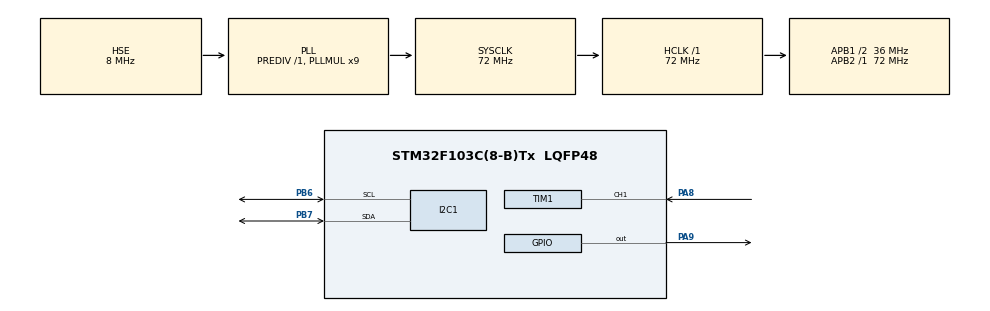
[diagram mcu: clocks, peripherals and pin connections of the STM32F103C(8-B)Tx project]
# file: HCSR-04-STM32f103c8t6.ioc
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Mcu.Family=STM32F1
Mcu.Name=STM32F103C(8-B)Tx
Mcu.Package=LQFP48
NVIC.PriorityGroup=NVIC_PRIORITYGROUP_4
NVIC.TIM1_CC_IRQn=true\:0\:0\:false\:false\:true\:true\:true
PA13.Mode=Serial_Wire
PA13.Signal=SYS_JTMS-SWDIO
PA14.Mode=Serial_Wire
PA14.Signal=SYS_JTCK-SWCLK
PA8.Signal=S_TIM1_CH1
PA9.Signal=GPIO_Output
PB6.Mode=I2C
PB6.Signal=I2C1_SCL
PB7.Mode=I2C
PB7.Signal=I2C1_SDA
PD0-OSC_IN.Mode=HSE-External-Oscillator
PD0-OSC_IN.Signal=RCC_OSC_IN
PD1-OSC_OUT.Mode=HSE-External-Oscillator
PD1-OSC_OUT.Signal=RCC_OSC_OUT
ProjectManager.HeapSize=0x200
ProjectManager.StackSize=0x400
ProjectManager.TargetToolchain=MDK-ARM V5.27
RCC.AHBFreq_Value=72000000
RCC.APB1CLKDivider=RCC_HCLK_DIV2
RCC.APB1Freq_Value=36000000
RCC.APB1TimFreq_Value=72000000
RCC.APB2Freq_Value=72000000
RCC.APB2TimFreq_Value=72000000
RCC.HCLKFreq_Value=72000000
RCC.PLLMUL=RCC_PLL_MUL9
RCC.PLLSourceVirtual=RCC_PLLSOURCE_HSE
RCC.SYSCLKFreq_VALUE=72000000
RCC.SYSCLKSource=RCC_SYSCLKSOURCE_PLLCLK
RCC.USBFreq_Value=72000000
SH.S_TIM1_CH1.0=TIM1_CH1,Input_Capture1_from_TI1
TIM1.Channel-Input_Capture1_from_TI1=TIM_CHANNEL_1
TIM1.Period=0xffff-1
TIM1.Prescaler=72-1
board=custom

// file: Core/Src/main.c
/* USER CODE BEGIN Header */
/**
  ******************************************************************************
  * @file           : main.c
  * @brief          : Main program body
  ******************************************************************************
  * @attention
  *
  * <h2><center>&copy; Copyright (c) 2020 STMicroelectronics.
  * All rights reserved.</center></h2>
  *
  * This software component is licensed by ST under BSD 3-Clause license,
  * the "License"; You may not use this file except in compliance with the
  * License. You may obtain a copy of the License at:
  *                        opensource.org/licenses/BSD-3-Clause
  *
  ******************************************************************************
  */
/* USER CODE END Header */
#include "main.h"

/* USER CODE BEGIN Includes */

#include "i2c-lcd.h"

/* USER CODE END Includes */

I2C_HandleTypeDef hi2c1;

TIM_HandleTypeDef htim1;

void SystemClock_Config(void);
static void MX_GPIO_Init(void);
static void MX_I2C1_Init(void);
static void MX_TIM1_Init(void);

/* USER CODE BEGIN 0 */

void delay (uint16_t time)
{
	__HAL_TIM_SET_COUNTER(&htim1, 0);
	while (__HAL_TIM_GET_COUNTER (&htim1) < time);
}

uint32_t IC_Val1 = 0;
uint32_t IC_Val2 = 0;
uint32_t Sensor_Time = 0;
uint8_t Captured1 = 0;  // gia tri chup lai dau tien
uint8_t Distance  = 0;

#define TRIG_PIN GPIO_PIN_9
#define TRIG_PORT GPIOA

// Let's write the callback function

void HAL_TIM_IC_CaptureCallback(TIM_HandleTypeDef *htim)
{
	//tin hieu van dang muc 0
	if (htim->Channel == HAL_TIM_ACTIVE_CHANNEL_1)  // if the interrupt source is channel1
	{
		if (Captured1==0) // if the first value is not captured

		// neu gia tri doc dc dau tien lа 0 thi dem suon len
		{
			IC_Val1 = HAL_TIM_ReadCapturedValue(htim, TIM_CHANNEL_1); // doc gia tri dau tien, suon len
			//doc gia tri thoi gian dau tien tu luc phat het 8 xung 40khz den luc chan echo len muc 1
			Captured1 = 1;   //cho chan echo len muc 1 sau khi phat xung
			// Now change the polarity to falling edge
			__HAL_TIM_SET_CAPTUREPOLARITY(htim, TIM_CHANNEL_1, TIM_INPUTCHANNELPOLARITY_FALLING);
			// co ic tu 1 xg 0
		}

		else if (Captured1==1)   // if the first is already captured
			// neu gia tri doc dc lа 1 thi dem suon xuong
		{
			IC_Val2 = HAL_TIM_ReadCapturedValue(htim, TIM_CHANNEL_1);  // doc gia tri suon xg
			__HAL_TIM_SET_COUNTER(htim, 0);  // reset the counter

				Sensor_Time = IC_Val2-IC_Val1;

			Distance = Sensor_Time * .0343/2; // do mot chieu phat di, mot chieu phan hoi ve
			Captured1 = 0; // set it back to false

			// set polarity to rising edge
			__HAL_TIM_SET_CAPTUREPOLARITY(htim, TIM_CHANNEL_1, TIM_INPUTCHANNELPOLARITY_RISING);
			__HAL_TIM_DISABLE_IT(&htim1, TIM_IT_CC1);
		}
	}
}

void HCSR04_Read (void)
{
	HAL_GPIO_WritePin(TRIG_PORT, TRIG_PIN, GPIO_PIN_SET);  // pull the TRIG pin HIGH
	delay(10);  // wait for 10 us
	HAL_GPIO_WritePin(TRIG_PORT, TRIG_PIN, GPIO_PIN_RESET);  // pull the TRIG pin low

	__HAL_TIM_ENABLE_IT(&htim1, TIM_IT_CC1);
}

/* USER CODE END 0 */

int main(void)
{

  /* MCU Configuration--------------------------------------------------------*/

  /* Reset of all peripherals, Initializes the Flash interface and the Systick. */
  HAL_Init();

  /* Configure the system clock */
  SystemClock_Config();

  /* Initialize all configured peripherals */
  MX_GPIO_Init();
  MX_I2C1_Init();
  MX_TIM1_Init();
  /* USER CODE BEGIN 2 */

  lcd_init();
  HAL_TIM_IC_Start_IT(&htim1, TIM_CHANNEL_1);

  lcd_send_string ("Distance= ");

  /* USER CODE END 2 */

  /* Infinite loop */
  while (1)
  {

    /* USER CODE BEGIN 3 */

	  HCSR04_Read();
    lcd_put_cur(0,10);
	  lcd_send_data((Distance/100) + 48);   // 100th pos
	  lcd_send_data(((Distance/10)%10) +48);  // 10th pos
	  lcd_send_data((Distance%10)+48);  // 1st pos
	  lcd_send_string(" cm");
	  HAL_Delay(200);

  }
  /* USER CODE END 3 */
}

void SystemClock_Config(void)
{
  RCC_OscInitTypeDef RCC_OscInitStruct = {0};
  RCC_ClkInitTypeDef RCC_ClkInitStruct = {0};

  /** Initializes the RCC Oscillators according to the specified parameters
  * in the RCC_OscInitTypeDef structure.
  */
  RCC_OscInitStruct.OscillatorType = RCC_OSCILLATORTYPE_HSE;
  RCC_OscInitStruct.HSEState = RCC_HSE_ON;
  RCC_OscInitStruct.HSEPredivValue = RCC_HSE_PREDIV_DIV1;
  RCC_OscInitStruct.HSIState = RCC_HSI_ON;
  RCC_OscInitStruct.PLL.PLLState = RCC_PLL_ON;
  RCC_OscInitStruct.PLL.PLLSource = RCC_PLLSOURCE_HSE;
  RCC_OscInitStruct.PLL.PLLMUL = RCC_PLL_MUL9;
  if (HAL_RCC_OscConfig(&RCC_OscInitStruct) != HAL_OK)
  {
    Error_Handler();
  }
  /** Initializes the CPU, AHB and APB buses clocks
  */
  RCC_ClkInitStruct.ClockType = RCC_CLOCKTYPE_HCLK|RCC_CLOCKTYPE_SYSCLK
                              |RCC_CLOCKTYPE_PCLK1|RCC_CLOCKTYPE_PCLK2;
  RCC_ClkInitStruct.SYSCLKSource = RCC_SYSCLKSOURCE_PLLCLK;
  RCC_ClkInitStruct.AHBCLKDivider = RCC_SYSCLK_DIV1;
  RCC_ClkInitStruct.APB1CLKDivider = RCC_HCLK_DIV2;
  RCC_ClkInitStruct.APB2CLKDivider = RCC_HCLK_DIV1;

  if (HAL_RCC_ClockConfig(&RCC_ClkInitStruct, FLASH_LATENCY_2) != HAL_OK)
  {
    Error_Handler();
  }
}

static void MX_I2C1_Init(void)
{

  hi2c1.Instance = I2C1;
  hi2c1.Init.ClockSpeed = 100000;
  hi2c1.Init.DutyCycle = I2C_DUTYCYCLE_2;
  hi2c1.Init.OwnAddress1 = 0;
  hi2c1.Init.AddressingMode = I2C_ADDRESSINGMODE_7BIT;
  hi2c1.Init.DualAddressMode = I2C_DUALADDRESS_DISABLE;
  hi2c1.Init.OwnAddress2 = 0;
  hi2c1.Init.GeneralCallMode = I2C_GENERALCALL_DISABLE;
  hi2c1.Init.NoStretchMode = I2C_NOSTRETCH_DISABLE;
  if (HAL_I2C_Init(&hi2c1) != HAL_OK)
  {
    Error_Handler();
  }

}

static void MX_TIM1_Init(void)
{

  TIM_MasterConfigTypeDef sMasterConfig = {0};
  TIM_IC_InitTypeDef sConfigIC = {0};

  htim1.Instance = TIM1;
  htim1.Init.Prescaler = 72-1;
  htim1.Init.CounterMode = TIM_COUNTERMODE_UP;
  htim1.Init.Period = 0xffff-1;
  htim1.Init.ClockDivision = TIM_CLOCKDIVISION_DIV1;
  htim1.Init.RepetitionCounter = 0;
  htim1.Init.AutoReloadPreload = TIM_AUTORELOAD_PRELOAD_DISABLE;
  if (HAL_TIM_IC_Init(&htim1) != HAL_OK)
  {
    Error_Handler();
  }
  sMasterConfig.MasterOutputTrigger = TIM_TRGO_RESET;
  sMasterConfig.MasterSlaveMode = TIM_MASTERSLAVEMODE_DISABLE;
  if (HAL_TIMEx_MasterConfigSynchronization(&htim1, &sMasterConfig) != HAL_OK)
  {
    Error_Handler();
  }
  sConfigIC.ICPolarity = TIM_INPUTCHANNELPOLARITY_RISING;
  sConfigIC.ICSelection = TIM_ICSELECTION_DIRECTTI;
  sConfigIC.ICPrescaler = TIM_ICPSC_DIV1;
  sConfigIC.ICFilter = 0;
  if (HAL_TIM_IC_ConfigChannel(&htim1, &sConfigIC, TIM_CHANNEL_1) != HAL_OK)
  {
    Error_Handler();
  }

}

static void MX_GPIO_Init(void)
{
  GPIO_InitTypeDef GPIO_InitStruct = {0};

  /* GPIO Ports Clock Enable */
  __HAL_RCC_GPIOD_CLK_ENABLE();
  __HAL_RCC_GPIOA_CLK_ENABLE();
  __HAL_RCC_GPIOB_CLK_ENABLE();

  /*Configure GPIO pin Output Level */
  HAL_GPIO_WritePin(GPIOA, GPIO_PIN_9, GPIO_PIN_RESET);

  /*Configure GPIO pin : PA9 */
  GPIO_InitStruct.Pin = GPIO_PIN_9;
  GPIO_InitStruct.Mode = GPIO_MODE_OUTPUT_PP;
  GPIO_InitStruct.Pull = GPIO_NOPULL;
  GPIO_InitStruct.Speed = GPIO_SPEED_FREQ_LOW;
  HAL_GPIO_Init(GPIOA, &GPIO_InitStruct);

}

void Error_Handler(void)
{
}

/************************ (C) COPYRIGHT STMicroelectronics *****END OF FILE****/
